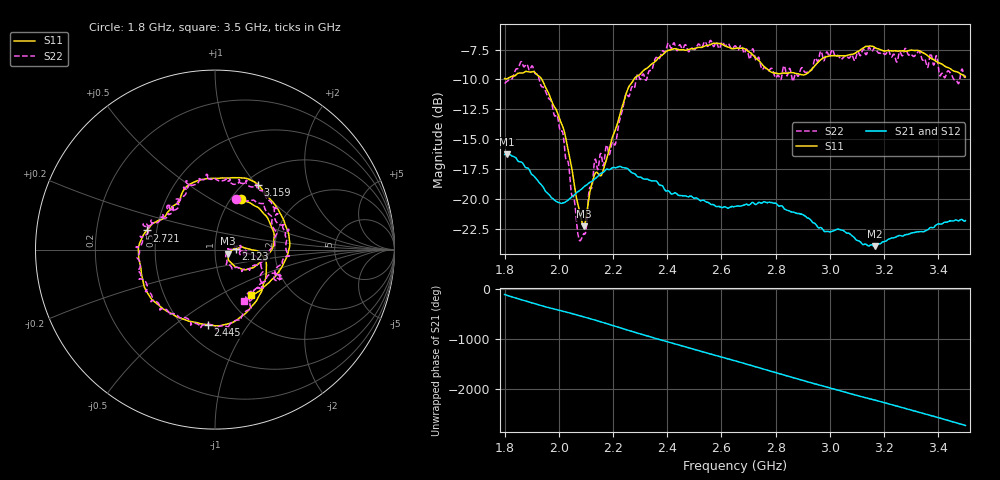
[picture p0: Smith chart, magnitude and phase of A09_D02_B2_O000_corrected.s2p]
! Created with skrf 1.9.0 (http://scikit-rf.org).
# Hz S RI R 50.0
!freq ReS11 ImS11 ReS21 ImS21 ReS12 ImS12 ReS22 ImS22
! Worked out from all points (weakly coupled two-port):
!   1601 points, 1.8 GHz to 3.5 GHz, reference 50 ohm
!   highest |S21| = -16.25 dB at 1.81 GHz (marker M1); lowest = -24.0 dB at 3.165 GHz (marker M2)
!   lowest |S11| = -22.3 dB at 2.093 GHz (marker M3), VSWR 1.17, Z = 57.9 - j2.53 ohm
!   |S11| at or under -10 dB: 1.937 GHz to 2.277 GHz (339.3 MHz wide, 16.1 % of centre)
!   |S22| runs from -23.5 to -6.7 dB; largest |S21 - S12| = 0.0026
!   S11 on the Smith chart (normalised r, x): 1.8 GHz: 1.11, +0.70; 2.123 GHz: 1.26, +0.01; 2.445 GHz: 0.66, -0.67; 2.721 GHz: 0.44, +0.11; 3.159 GHz: 1.14, +1.02; 3.5 GHz: 1.27, -0.72
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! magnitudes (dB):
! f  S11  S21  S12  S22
! 1.8 GHz  -9.9  -16.3  -16.3  -10.3
! 1.81 GHz  -10.0  -16.3  -16.3  -10.1
! 1.901 GHz  -9.4  -18.0  -17.9  -8.9
! 1.968 GHz  -11.5  -19.7  -19.8  -11.7
! 2.021 GHz  -14.4  -20.3  -20.3  -15.7
! 2.072 GHz  -20.6  -19.4  -19.4  -23.1
! 2.084 GHz  -21.8  -19.2  -19.1  -23.3
! 2.093 GHz  -22.3  -19.0  -19.0  -22.9
! 2.123 GHz  -18.7  -18.5  -18.5  -18.9
! 2.162 GHz  -17.7  -17.8  -17.7  -17.2
! 2.209 GHz  -14.2  -17.4  -17.3  -15.4
! 2.259 GHz  -10.6  -17.6  -17.6  -11.4
! 2.367 GHz  -8.2  -18.7  -18.7  -8.3
! 2.445 GHz  -7.5  -19.7  -19.7  -7.1
! 2.65 GHz  -7.4  -20.6  -20.6  -7.2
! 2.721 GHz  -8.1  -20.4  -20.3  -7.9
! 2.812 GHz  -9.5  -20.6  -20.5  -9.7
! 2.934 GHz  -9.1  -21.9  -21.9  -9.2
! 3.159 GHz  -7.2  -23.9  -23.9  -7.5
! 3.165 GHz  -7.3  -24.0  -23.9  -7.4
! 3.217 GHz  -7.6  -23.4  -23.3  -7.6
! 3.5 GHz  -9.8  -21.8  -21.8  -9.6
